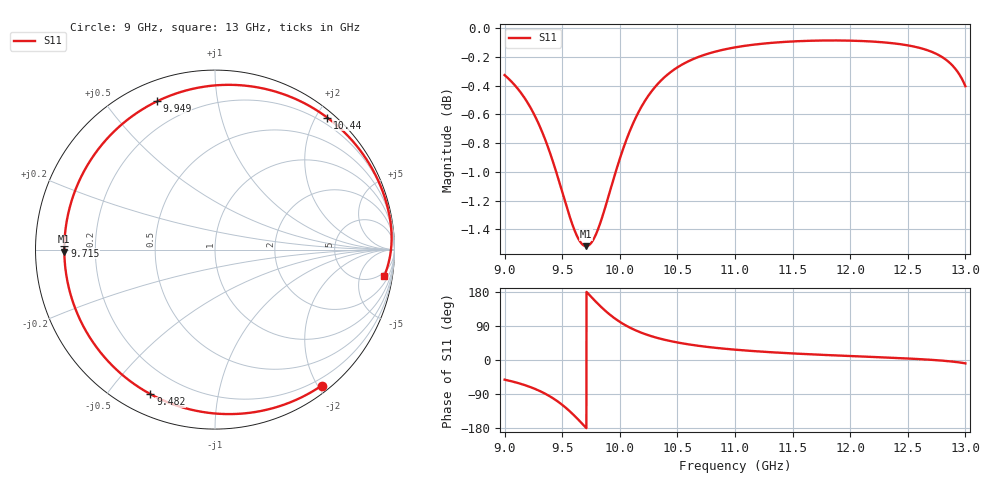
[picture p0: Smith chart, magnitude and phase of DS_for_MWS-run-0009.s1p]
! TOUCHSTONE file generated by CST DESIGN STUDIO
! Date and time: Tue Feb  4 18:40:50 2025
! Project name: C:\Work\MatlabApps\UnitCellOptimizationMatlab\CST\unitcell.cst
! Tree item: Tasks\Sweep1\SPara1\S-Parameters
! Header version: 2024
! Port assignment regex: !\s*Touchstone port\s*([0-9]+)\s*=\s*(CST MWS port|CST DES external port|CST DES block port)\s*(.+)\s* \(\"(.*)\"\)(\s*mode\s*([0-9]+))?.*
! Touchstone port assignment:
! Touchstone port 1 = CST DES external port 1 ("")
# GHz S MA R 50
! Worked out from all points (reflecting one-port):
!   4001 points, 9 GHz to 13 GHz, reference 50 ohm
!   lowest |S11| = -1.5 dB at 9.708 GHz (marker M1), VSWR 11.48, Z = 4.36 - j0.324 ohm
!   phase of S11 starts at -52 deg and turns -317 deg over the sweep
!   S11 on the Smith chart (normalised r, x): 9 GHz: 0.10, -2.05; 9.482 GHz: 0.09, -0.65; 9.715 GHz: 0.09, +0.01; 9.949 GHz: 0.09, +0.68; 10.44 GHz: 0.10, +2.16; 13 GHz: 4, -12
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9  0.9631 -51.9
9.129  0.951 -61.9
9.251  0.9341 -74.7
9.381  0.908 -93.8
9.482  0.882 -114.1
9.5  0.8771 -118.3
9.559  0.8614 -133.5
9.619  0.8482 -150.9
9.665  0.8418 -165.3
9.708  0.8397 -179.3
9.715  0.8398 178.5
9.774  0.8446 159.4
9.84  0.8577 139.4
9.894  0.8718 124.7
9.949  0.887 111.4
10  0.9006 100.7
10.089  0.9213 85.2
10.205  0.9415 69.9
10.317  0.9551 59.0
10.444  0.9656 49.6
10.5  0.9691 46.3
10.718  0.9783 36.1
11  0.9847 27.3
11.5  0.9894 17.3
12  0.99 10.5
12.5  0.9863 3.9
12.796  0.9772 -1.6
13  0.9545 -8.9
